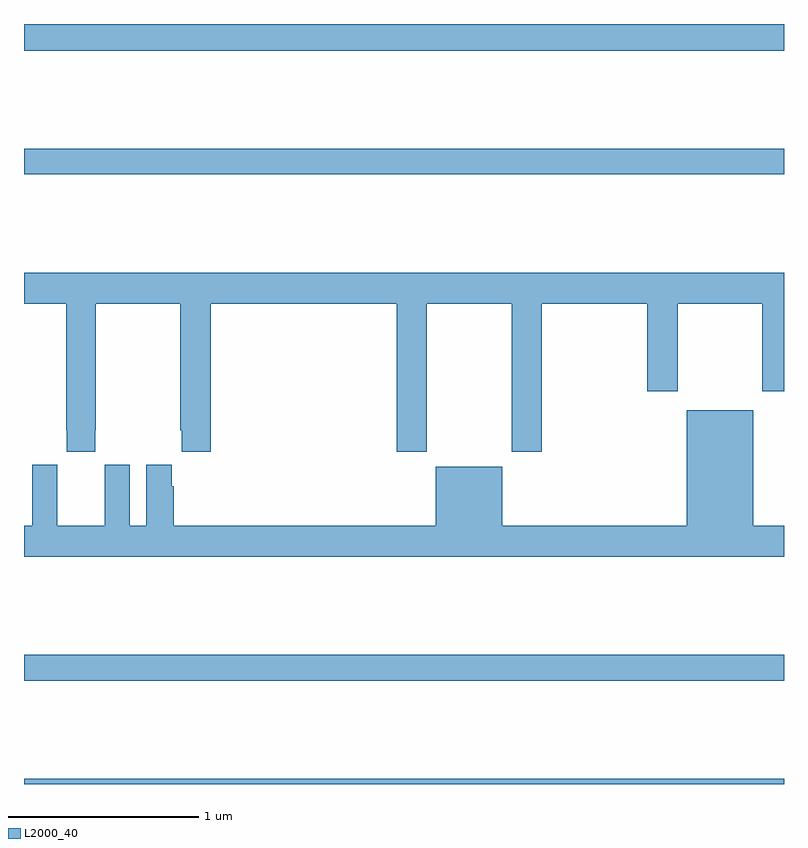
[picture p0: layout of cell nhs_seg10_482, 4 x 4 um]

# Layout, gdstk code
import gdstk
lib = gdstk.Library(unit=1e-6, precision=1e-09)
def R(c, l, rs):  # rectangles x0, y0, x1, y1
    for r in rs: c.add(gdstk.rectangle(r[:2], r[2:], *l))
def P(c, l, *ps):  # polygons
    for p in ps: c.add(gdstk.Polygon(p, *l))
L2000_40 = (2000, 40)

nhs_seg10_482 = lib.new_cell('nhs_seg10_482')
R(nhs_seg10_482, L2000_40, [(135,1252.5,139,1252.528), (135,1253.044,139,1253.18), (135,1255.708,139,1255.844), (135,1256.36,139,1256.5)])
P(nhs_seg10_482, L2000_40, [(135.375,1254.361),(135.378,1254.361),(135.378,1255.028),(135.823,1255.028),(135.823,1254.361),(135.829,1254.361),(135.829,1254.249),(135.983,1254.249),(135.983,1255.028),(136.961,1255.028),(136.961,1254.249),(137.121,1254.249),(137.121,1255.028),(137.566,1255.028),(137.566,1254.249),(137.726,1254.249),(137.726,1255.028),(138.281,1255.028),(138.281,1254.567),(138.441,1254.567),(138.441,1255.028),(138.886,1255.028),(138.886,1254.567),(139,1254.567),(139,1255.192),(135,1255.192),(135,1255.028),(135.223,1255.028),(135.223,1254.361),(135.225,1254.361),(135.225,1254.249),(135.375,1254.249)],
  [(137.168,1254.169),(137.168,1253.86),(135.788,1253.86),(135.788,1254.068),(135.778,1254.068),(135.778,1254.181),(135.644,1254.181),(135.644,1253.86),(135.556,1253.86),(135.556,1254.181),(135.426,1254.181),(135.426,1254.068),(135.425,1254.068),(135.425,1253.86),(135.175,1253.86),(135.175,1254.068),(135.174,1254.068),(135.174,1254.181),(135.044,1254.181),(135.044,1253.86),(135,1253.86),(135,1253.696),(139,1253.696),(139,1253.86),(138.838,1253.86),(138.838,1254.466),(138.488,1254.466),(138.488,1253.86),(137.518,1253.86),(137.518,1254.169)])

lib.write_gds('nhs_seg10_482.gds')
